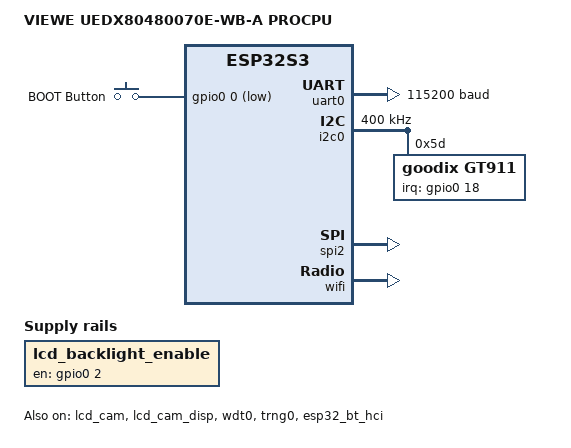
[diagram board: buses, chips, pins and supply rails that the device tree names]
/*
 * SPDX-FileCopyrightText: Copyright The Zephyr Project Contributors
 * SPDX-License-Identifier: Apache-2.0
 */
/dts-v1/;

#include <espressif/esp32s3/esp32s3_wroom_n16r8.dtsi>
#include <zephyr/dt-bindings/input/input-event-codes.h>
#include <espressif/partitions_0x0_amp_16M.dtsi>
#include "uedx80480070e_wb_a-pinctrl.dtsi"

/ {
	model = "VIEWE UEDX80480070E-WB-A PROCPU";
	compatible = "viewe,uedx80480070e-wb-a";

	aliases {
		i2c-0 = &i2c0;
		watchdog0 = &wdt0;
		uart-0 = &uart0;
		sw0 = &button0;
	};

	chosen {
		zephyr,sram = &sram1;
		zephyr,console = &uart0;
		zephyr,shell-uart = &uart0;
		zephyr,flash = &flash0;
		zephyr,code-partition = &slot0_partition;
		zephyr,bt-hci = &esp32_bt_hci;
		zephyr,touch = &gt911;
	};

	buttons {
		compatible = "gpio-keys";

		button0: button_0 {
			gpios = <&gpio0 0 (GPIO_PULL_UP | GPIO_ACTIVE_LOW)>;
			label = "BOOT Button";
			zephyr,code = <INPUT_KEY_0>;
		};
	};

	lcd_backlight_en {
		compatible = "regulator-fixed";
		regulator-name = "lcd_backlight_enable";
		enable-gpios = <&gpio0 2 GPIO_ACTIVE_HIGH>;
		regulator-boot-on;
	};
};

&uart0 {
	status = "okay";
	current-speed = <115200>;
	pinctrl-0 = <&uart0_default>;
	pinctrl-names = "default";
};

&gpio0 {
	status = "okay";
};

&gpio1 {
	status = "okay";
};

&i2c0 {
	status = "okay";
	clock-frequency = <I2C_BITRATE_FAST>;
	pinctrl-0 = <&i2c0_default>;
	pinctrl-names = "default";

	gt911: gt911@5d {
		compatible = "goodix,gt911";
		reg = <0x5d>;
		alt-addr = <0x14>;
		irq-gpios = <&gpio0 18 GPIO_ACTIVE_HIGH>;
	};
};

&spi2 {
	#address-cells = <1>;
	#size-cells = <0>;
	status = "okay";
	pinctrl-0 = <&spim2_default>;
	pinctrl-names = "default";
};

&dma {
	status = "okay";
};

&lcd_cam {
	status = "okay";
	pinctrl-0 = <&lcd_cam_default>;
	pinctrl-names = "default";
};

&lcd_cam_disp {
	status = "okay";
};

&timer0 {
	status = "disabled";
};

&timer1 {
	status = "disabled";
};

&timer2 {
	status = "disabled";
};

&timer3 {
	status = "disabled";
};

&wdt0 {
	status = "okay";
};

&trng0 {
	status = "okay";
};

&esp32_bt_hci {
	status = "okay";
};

&wifi {
	status = "okay";
};
